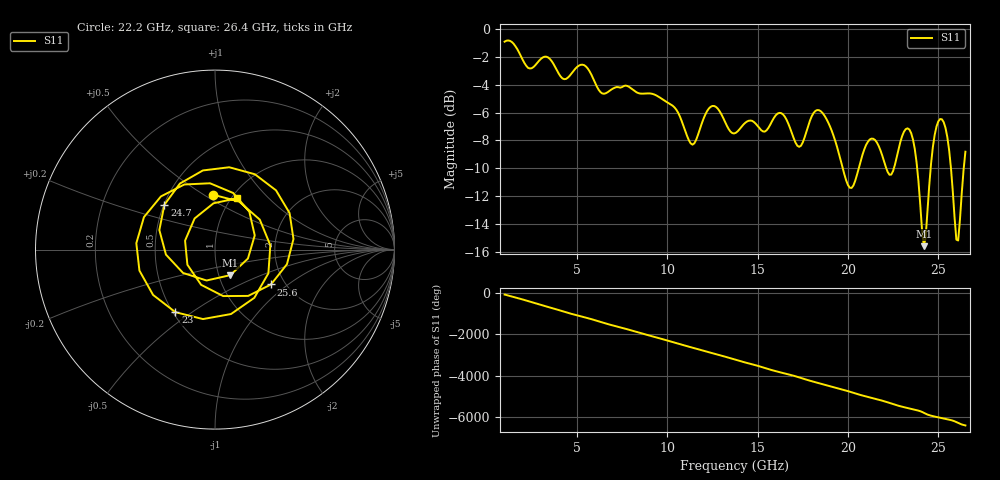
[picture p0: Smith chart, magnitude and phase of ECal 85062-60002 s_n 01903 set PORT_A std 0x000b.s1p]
!Created with skrf (http://scikit-rf.org).
# Hz S RI R 50.0
!freq ReS11 ImS11
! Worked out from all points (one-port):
!   256 points, 1 GHz to 26.5 GHz, reference 50 ohm
!   lowest |S11| = -15.6 dB at 24.2 GHz (marker M1), VSWR 1.40, Z = 56.8 - j16.6 ohm
!   |S11| at or under -10 dB: 19.71 GHz to 20.6 GHz (886.4 MHz wide, 4.4 % of centre); 23.83 GHz to 24.58 GHz (747.7 MHz wide, 3.09 % of centre); 25.7 GHz to 26.41 GHz (706.6 MHz wide, 2.71 % of centre) (the widest 3 of 4)
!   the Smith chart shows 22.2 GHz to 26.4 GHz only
!   S11 on the Smith chart (normalised r, x): 22.2 GHz: 0.81, +0.55; 23 GHz: 0.52, -0.43; 24.7 GHz: 0.50, +0.29; 25.6 GHz: 1.69, -0.76; 26.4 GHz: 1.06, +0.67
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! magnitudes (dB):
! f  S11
! 1 GHz  -0.9
! 4.2 GHz  -3.6
! 5.3 GHz  -2.6
! 6.4 GHz  -4.6
! 7.4 GHz  -4.2
! 10.6 GHz  -6.0
! 11.4 GHz  -8.3
! 12.5 GHz  -5.5
! 13.8 GHz  -7.5
! 16.2 GHz  -6.0
! 17 GHz  -7.8
! 17.4 GHz  -8.4
! 18.5 GHz  -5.9
! 20.2 GHz  -11.4
! 21.3 GHz  -7.9
! 22.2 GHz  -10.3
! 22.5 GHz  -10.2
! 23 GHz  -7.7
! 23.4 GHz  -7.2
! 23.8 GHz  -9.6
! 24.2 GHz  -15.6
! 24.7 GHz  -8.5
! 25.2 GHz  -6.5
! 25.6 GHz  -8.7
! 26 GHz  -15.1
! 26.1 GHz  -15.2
! 26.4 GHz  -10.1
! 26.5 GHz  -8.8
